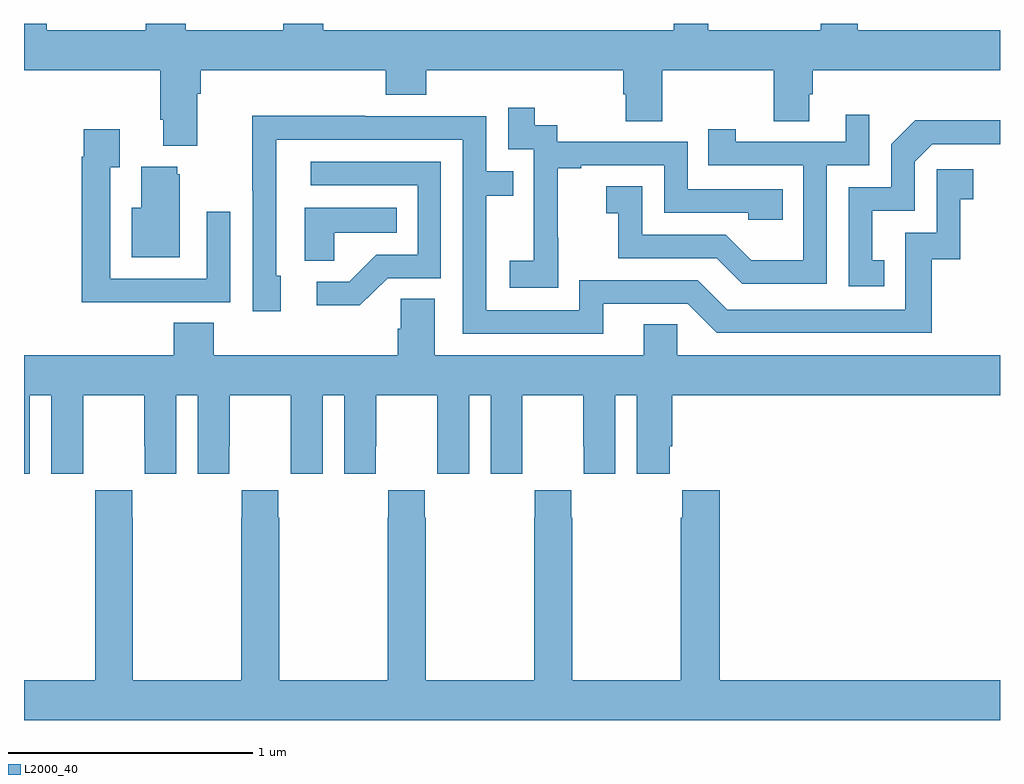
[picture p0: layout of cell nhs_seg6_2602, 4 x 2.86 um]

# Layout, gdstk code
import gdstk
lib = gdstk.Library(unit=1e-6, precision=1e-09)
def P(c, l, *ps):  # polygons
    for p in ps: c.add(gdstk.Polygon(p, *l))
L2000_40 = (2000, 40)

nhs_seg6_2602 = lib.new_cell('nhs_seg6_2602')
P(nhs_seg6_2602, L2000_40, [(265.711,975.212),(265.724,975.212),(265.724,975.308),(266.483,975.308),(266.483,975.209),(266.648,975.209),(266.648,975.308),(267.455,975.308),(267.455,975.21),(267.467,975.21),(267.467,975.1),(267.615,975.1),(267.615,975.308),(268.072,975.308),(268.072,975.1),(268.219,975.1),(268.219,975.21),(268.232,975.21),(268.232,975.308),(269,975.308),(269,975.472),(268.418,975.472),(268.418,975.5),(268.266,975.5),(268.266,975.472),(267.804,975.472),(267.804,975.5),(267.662,975.5),(267.662,975.472),(266.227,975.472),(266.227,975.5),(266.063,975.5),(266.063,975.472),(265.663,975.472),(265.663,975.5),(265.499,975.5),(265.499,975.472),(265.093,975.472),(265.093,975.5),(265,975.5),(265,975.308),(265.559,975.308),(265.559,975.106),(265.571,975.106),(265.571,974.999),(265.711,974.999)],
  [(267.189,974.623),(267.188,974.623),(267.188,974.907),(267.283,974.907),(267.283,974.919),(267.624,974.919),(267.624,974.724),(267.969,974.724),(267.969,974.697),(268.109,974.697),(268.109,974.82),(267.72,974.82),(267.72,975.015),(267.186,975.015),(267.186,975.084),(267.094,975.084),(267.094,975.154),(266.985,975.154),(266.985,974.985),(267.09,974.985),(267.09,974.756),(267.089,974.756),(267.089,974.527),(266.991,974.527),(266.991,974.417),(267.189,974.417)],
  [(268.29,974.919),(268.464,974.919),(268.464,975.127),(268.367,975.127),(268.367,975.015),(267.916,975.015),(267.916,975.067),(267.805,975.067),(267.805,974.919),(268.194,974.919),(268.194,974.53),(267.98,974.53),(267.876,974.634),(267.534,974.634),(267.534,974.833),(267.387,974.833),(267.387,974.723),(267.436,974.723),(267.436,974.538),(267.839,974.538),(267.944,974.433),(268.29,974.433)],
  [(267.373,974.352),(267.72,974.352),(267.84,974.232),(268.72,974.232),(268.72,974.535),(268.838,974.535),(268.838,974.781),(268.891,974.781),(268.891,974.902),(268.74,974.902),(268.74,974.643),(268.611,974.643),(268.611,974.328),(267.882,974.328),(267.762,974.448),(267.276,974.448),(267.276,974.325),(266.895,974.325),(266.895,974.794),(267.005,974.794),(267.005,974.895),(266.895,974.895),(266.895,975.12),(266.399,975.12),(266.399,975.122),(265.936,975.122),(265.936,974.815),(265.938,974.815),(265.938,974.322),(266.053,974.322),(266.053,974.466),(266.034,974.466),(266.034,975.024),(266.799,975.024),(266.799,974.229),(267.373,974.229)],
  [(268.526,974.529),(268.477,974.529),(268.477,974.733),(268.65,974.733),(268.65,974.934),(268.722,975.006),(269,975.006),(269,975.104),(268.652,975.104),(268.554,975.006),(268.554,974.829),(268.38,974.829),(268.38,974.424),(268.526,974.424)],
  [(265.529,974.358),(265.845,974.358),(265.845,974.728),(265.749,974.728),(265.749,974.454),(265.353,974.454),(265.353,974.911),(265.393,974.911),(265.393,975.067),(265.245,975.067),(265.245,974.954),(265.237,974.954),(265.237,974.357),(265.529,974.357)],
  [(266.49,974.457),(266.709,974.457),(266.709,974.934),(266.175,974.934),(266.175,974.838),(266.613,974.838),(266.613,974.553),(266.444,974.553),(266.333,974.442),(266.199,974.442),(266.199,974.345),(266.377,974.345)],
  [(265.639,974.883),(265.628,974.883),(265.628,974.914),(265.481,974.914),(265.481,974.746),(265.442,974.746),(265.442,974.543),(265.639,974.543)],
  [(266.271,974.642),(266.528,974.642),(266.528,974.746),(266.15,974.746),(266.15,974.527),(266.271,974.527)],
  [(265.024,973.976),(265.112,973.976),(265.112,973.656),(265.242,973.656),(265.242,973.768),(265.243,973.768),(265.243,973.976),(265.493,973.976),(265.493,973.768),(265.494,973.768),(265.494,973.656),(265.624,973.656),(265.624,973.976),(265.712,973.976),(265.712,973.656),(265.842,973.656),(265.842,973.768),(265.843,973.768),(265.843,973.976),(266.093,973.976),(266.093,973.768),(266.094,973.768),(266.094,973.656),(266.224,973.656),(266.224,973.976),(266.312,973.976),(266.312,973.656),(266.442,973.656),(266.442,973.768),(266.443,973.768),(266.443,973.976),(266.693,973.976),(266.693,973.768),(266.694,973.768),(266.694,973.656),(266.824,973.656),(266.824,973.976),(266.912,973.976),(266.912,973.656),(267.042,973.656),(267.042,973.768),(267.043,973.768),(267.043,973.976),(267.293,973.976),(267.293,973.768),(267.294,973.768),(267.294,973.656),(267.424,973.656),(267.424,973.976),(267.512,973.976),(267.512,973.656),(267.646,973.656),(267.646,973.768),(267.656,973.768),(267.656,973.976),(269,973.976),(269,974.14),(267.678,974.14),(267.678,974.267),(267.539,974.267),(267.539,974.14),(266.683,974.14),(266.683,974.372),(266.544,974.372),(266.544,974.249),(266.531,974.249),(266.531,974.14),(265.778,974.14),(265.778,974.273),(265.613,974.273),(265.613,974.14),(265,974.14),(265,973.656),(265.024,973.656)],
  [(269,972.808),(267.851,972.808),(267.851,973.588),(267.697,973.588),(267.697,973.475),(267.691,973.475),(267.691,972.808),(267.246,972.808),(267.246,973.475),(267.243,973.475),(267.243,973.588),(267.093,973.588),(267.093,973.475),(267.091,973.475),(267.091,972.808),(266.646,972.808),(266.646,973.475),(266.643,973.475),(266.643,973.588),(266.493,973.588),(266.493,973.475),(266.491,973.475),(266.491,972.808),(266.046,972.808),(266.046,973.475),(266.043,973.475),(266.043,973.588),(265.893,973.588),(265.893,973.475),(265.891,973.475),(265.891,972.808),(265.446,972.808),(265.446,973.475),(265.443,973.475),(265.443,973.588),(265.293,973.588),(265.293,973.475),(265.291,973.475),(265.291,972.808),(265,972.808),(265,972.644),(269,972.644)])

lib.write_gds('nhs_seg6_2602.gds')
